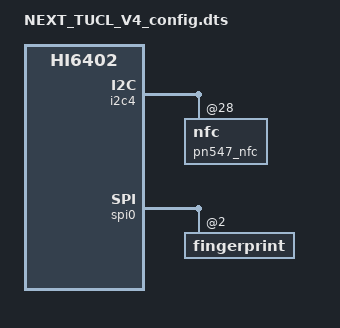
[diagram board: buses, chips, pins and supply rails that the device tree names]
/**
 * Copyright (C) 2014 Hisilicon Ltd.
 *
 *  This program is free software; you can redistribute it and/or modify
 *  it under the terms of the GNU General Public License version 2 as
 *  publishhed by the Free Software Foundation.
 */

/dts-v1/;
/include/ "fastboot.dtsi"
/include/ "huawei_pmucurr_test.dtsi"
/include/ "NEXT_TUCL_V3_config.dtsi"
/include/ "NEXT_TUCL_V4_pin.dtsi"
/include/ "NEXT_TUCL_V4_modem_pin.dtsi"
/include/ "NEXT_TUCL_V4_hi6402_pin.dtsi"

/ {
	hisi,boardid = <3 5 0 3>;
	hisi,boardname = "NEXT_TUCL_V4";
	hisi,modem_id = <0x3C000C00>;

	huawei,lcd_panel {
		gpio_id = <214>;
		gpio_cfg_addr = <0xFFF11898>;
	};

      hw,pmucurr_test{
            power_numbers = <22 23 24 26 28 29 30 34>;
            status = "ok";
      };
	/*****************************************************************
	*        Camera DTS Config Begin  (h00144661)
	******************************************************************/
	huawei,hisi_isp100{
		pinctrl-0 = <&gpio122_pmx_func
                 &gpio017_pmx_func
                 &gpio018_pmx_func
                 &gpio022_pmx_func
                 &gpio023_pmx_func
                 &gpio025_pmx_func
                 &gpio026_pmx_func
                 &gpio027_pmx_func
                 &gpio028_pmx_func
                 &gpio000_hi6402_pinctrl_func
                 &gpio003_hi6402_pinctrl_func
                 &gpio024_hi6402_pinctrl_func
                 //&gpio196_pmx_func
                 &gpio220_pmx_func
                 &gpio122_cfg_func
                 &gpio017_cfg_func
                 &gpio018_cfg_func
                 &gpio022_cfg_func
                 &gpio023_cfg_func
                 &gpio025_cfg_func
                 &gpio026_cfg_func
                 &gpio027_cfg_func
                 &gpio028_cfg_func
                 //&gpio193_cfg_func
                 //&gpio196_cfg_func
                 &gpio220_cfg_func
                 >;
		pinctrl-1 = <&gpio122_pmx_idle
                 &gpio017_pmx_idle
                 &gpio018_pmx_idle
                 &gpio022_pmx_idle
                 &gpio023_pmx_idle
                 &gpio025_pmx_idle
                 &gpio026_pmx_idle
                 &gpio027_pmx_idle
                 &gpio028_pmx_idle
                 &gpio000_hi6402_pinctrl_idle
                 &gpio003_hi6402_pinctrl_idle
                 &gpio024_hi6402_pinctrl_idle
                 //&gpio196_pmx_idle
                 &gpio220_pmx_idle
                 &gpio122_cfg_idle
                 &gpio017_cfg_idle
                 &gpio018_cfg_idle
                 &gpio022_cfg_idle
                 &gpio023_cfg_idle
                 &gpio025_cfg_idle
                 &gpio026_cfg_idle
                 &gpio027_cfg_idle
                 &gpio028_cfg_idle
                 //&gpio193_cfg_idle
                 //&gpio196_cfg_idle
                 &gpio220_cfg_idle
                 >;
	};

	huawei,imx298{
        gpios = <&gpio2 2 0 &gpio2 1 0 &gpio15 2 0 &gpio28 0 0 &gpio3 6 0 &gpio31 0 0>;
        huawei,gpio-ctrl-types = "reset", "suspend", "ldo_en", "fsin", "ois", "ois2";
	};

	/*****************************************************************
	*        Camera DTS Config End (h00144661)
	******************************************************************/

	panel_lcd_jdi_NT35695_cut2_5 {
		lcd-bl-type = <4>;
		//gpio_lcd_n5v5_enable, gpio_lcd_bl_enable, gpio_lcd_p5v5_enable, gpio_lcd_reset, gpio_lcd_id0
		gpios = <&gpio6 4 0>, <&gpio6 3 0>,  <&gpio6 5 0>, <&gpio2 4 0>, <&gpio26 6 0>;
		gpio_nums = <52 51 53 20 21 214 193>;    //gpio_193, tp reset
		pinctrl-names = "default", "idle";
		pinctrl-0 = <&gpio021_pmx_func &gpio021_cfg_func &gpio214_cfg_func &gpio020_cfg_func &gpio051_cfg_func &gpio052_cfg_func &gpio053_cfg_func>;
		pinctrl-1 = <&gpio021_pmx_idle &gpio021_cfg_idle &gpio214_cfg_idle &gpio020_cfg_idle &gpio051_cfg_idle &gpio052_cfg_idle &gpio053_cfg_idle>;
	};

	panel_lcd_jdi_NT35695_cut3_1 {
		lcd-bl-type = <4>;
		//gpio_lcd_n5v5_enable, gpio_lcd_bl_enable, gpio_lcd_p5v5_enable, gpio_lcd_reset, gpio_lcd_id0
		gpios = <&gpio6 4 0>, <&gpio6 3 0>,  <&gpio6 5 0>, <&gpio2 4 0>, <&gpio26 6 0>;
		gpio_nums = <52 51 53 20 21 214 193>;    //gpio_193, tp reset
		pinctrl-names = "default", "idle";
		pinctrl-0 = <&gpio021_pmx_func &gpio021_cfg_func &gpio214_cfg_func &gpio020_cfg_func &gpio051_cfg_func &gpio052_cfg_func &gpio053_cfg_func>;
		pinctrl-1 = <&gpio021_pmx_idle &gpio021_cfg_idle &gpio214_cfg_idle &gpio020_cfg_idle &gpio051_cfg_idle &gpio052_cfg_idle &gpio053_cfg_idle>;
	};

	panel_lcd_lg_eR69006A {
		lcd-bl-type = <4>;
		//gpio_lcd_n5v5_enable, gpio_lcd_bl_enable, gpio_lcd_p5v5_enable, gpio_lcd_reset, gpio_lcd_id0
		gpios = <&gpio6 4 0>, <&gpio6 3 0>,  <&gpio6 5 0>, <&gpio2 4 0>, <&gpio26 6 0>;
		gpio_nums = <52 51 53 20 21 214 193>;    //gpio_193, tp reset
		pinctrl-names = "default", "idle";
		pinctrl-0 = <&gpio021_pmx_func &gpio021_cfg_func &gpio214_cfg_func &gpio020_cfg_func &gpio051_cfg_func &gpio052_cfg_func &gpio053_cfg_func>;
		pinctrl-1 = <&gpio021_pmx_idle &gpio021_cfg_idle &gpio214_cfg_idle &gpio020_cfg_idle &gpio051_cfg_idle &gpio052_cfg_idle &gpio053_cfg_idle>;
	};

	amba {
            i2c4: i2c@FDF0D000 {
                    pn547_nfc:nfc@28 {
                            nfc_chip_type = "pn548";
							nfc_single_channel = "true";
                    };
            };

			spi0: spi@ffd70000 {
				fingerprint: fingerprint@2 {
						fingerprint,cs_gpio = <15>;
				};
			};
        };

	sensorhub{
		als_sensor:light{
			als1{
				als_phone_version = <11>;
			};
		};
		mag_sensor:compass{
			mag1{
				softiron_parameter = <12 39 242 254 8 00 242 254 218 40 241 255 8 00 241 255 246 39 0 0 0 0 0 0 0 0 0>;
			};
		};
	};
};
